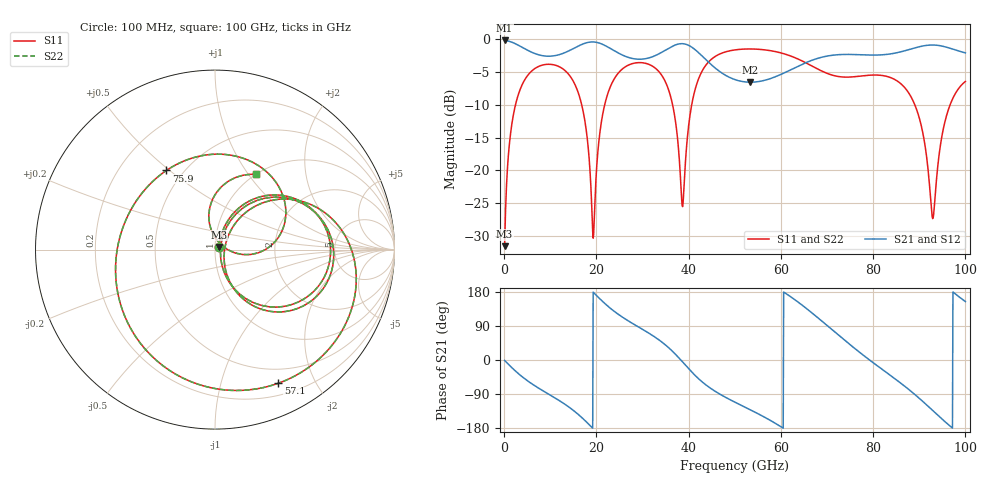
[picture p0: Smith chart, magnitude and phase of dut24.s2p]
! Touchstone file exported from HFSS 2026.1.0
!  File:  C:/ffzhzh/LocalFiles/Ansys_Project_Files/temp_train_TSV_RDL_24_1783615391_29156.aedt
!  Generated:  12:50:58 AM Jul 10, 2026
!  Design:  TSV_RDL
!  Project:  temp_train_TSV_RDL_24_1783615391_29156
! Variables:
!  h_bsmrdl = 3.4um
!  h_ox = 20um
!  h_rdl = 5um
!  h_sub = 79.49um
!  h_tmrdl = 2.72um
!  h_tsv = 79.49um
!  h_via = 3um
!  l_bsmrdl = 625.43um
!  l_sub = 3061.76um
!  l_tmrdl = 168.94um
!  m_sub = 200um
!  pitch = 54.71um
!  r_tsv = 8.6um
!  s_tmrdl = 10um
!  w_bsmrdl = 11.27um
!  w_sub = 500um
!  w_tmrdl = 25.3um
!  x_tsv_center1 = 181.59um
!  x_tsv_center2 = 818.29um
!  x_tsv_center3 = 1012.53um
!  x_tsv_center4 = 1649.23um
!  x_tsv_center5 = 1843.47um
!  x_tsv_center6 = 2480.17um
# GHz S MA R 50.000000
! Terminal data exported
! Port[1] = TM_RDL1_1_T1
! Port[2] = TM_RDL5_1_T1
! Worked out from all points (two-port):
!   1000 points, 100 MHz to 100 GHz, reference 50 ohm
!   highest |S21| = -0.20 dB at 100 MHz (marker M1); lowest = -6.6 dB at 53.4 GHz (marker M2)
!   |S21| within 3 dB of the highest: start of sweep to 43.85 GHz; 66.8 GHz to end of sweep
!   lowest |S11| = -31.5 dB at 100 MHz (marker M3), VSWR 1.05, Z = 52.3 + j1.48 ohm
!   |S11| at or under -10 dB: 16.82 GHz to 21.8 GHz (4.981 GHz wide, 25.8 % of centre); 36.52 GHz to 40.66 GHz (4.141 GHz wide, 10.7 % of centre); 89.03 GHz to 96.68 GHz (7.647 GHz wide, 8.24 % of centre) (the widest 3 of 4)
!   |S22| runs from -31.5 to -1.5 dB; largest |S21 - S12| = 1.7e-14
!   S11 on the Smith chart (normalised r, x): 100 MHz: 1.05, +0.03; 57.1 GHz: 0.33, -1.53; 75.9 GHz: 0.40, +0.49; 100 GHz: 1.00, +1.08
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0.1  0.02652 32.3  0.9778 -1.3  0.9778 -1.3  0.02652 32.3
! Gamma 0 0 0 0
! Port Impedance 50 0 50 0
1.7  0.2295 62.9  0.9476 -20.6  0.9476 -20.6  0.2295 62.9
4.7  0.5059 35.6  0.8371 -51.6  0.8371 -51.6  0.5059 35.6
10.6  0.6396 -8.1  0.7452 -97.0  0.7452 -97.0  0.6395 -8.1
16.8  0.3179 -58.2  0.9105 -151.5  0.9105 -151.5  0.3179 -58.1
19.3  0.03051 -5.7  0.9526 179.0  0.9526 179.0  0.03132 -5.5
23.3  0.4569 39.8  0.8389 133.8  0.8389 133.8  0.457 39.7
33.4  0.5739 -34.1  0.7686 54.5  0.7686 54.5  0.5739 -34.1
36.5  0.3189 -60.2  0.8839 22.9  0.8839 22.9  0.319 -60.1
38.7  0.05311 -1.4  0.924 -5.4  0.924 -5.4  0.05382 -1.4
42.1  0.4934 34.8  0.792 -48.9  0.792 -48.9  0.4936 34.7
50.1  0.8292 -23.1  0.4913 -111.7  0.4913 -111.7  0.8293 -23.1
53.4  0.8422 -42.1  0.4702 -131.6  0.4702 -131.6  0.8423 -42.1
57.1  0.8239 -64.7  0.493 -155.2  0.493 -155.2  0.824 -64.8
66.7  0.6254 -143.3  0.6902 124.6  0.6902 124.6  0.6254 -143.4
71.2  0.5316 170.1  0.7547 78.8  0.7547 78.8  0.5315 170.0
75.9  0.5175 121.5  0.7639 31.5  0.7639 31.5  0.5174 121.4
83.4  0.5154 53.1  0.7693 -37.6  0.7693 -37.6  0.5154 53.1
89.6  0.2794 -0.1  0.8685 -96.8  0.8685 -96.8  0.2795 0.1
92.9  0.04303 42.8  0.9028 -133.1  0.9028 -133.1  0.04412 43.0
95.7  0.2456 96.2  0.8728 -164.1  0.8728 -164.1  0.2459 96.0
100  0.4764 61.6  0.7868 154.2  0.7868 154.2  0.4767 61.4
